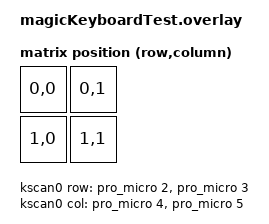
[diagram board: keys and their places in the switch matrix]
#include <dt-bindings/zmk/matrix_transform.h>
/{
    chosen {
        zmk,kscan = &default_kscan;
        zmk,matrix_transform = &default_transform;
    };
    kscan0: kscan0 {
        compatible = "zmk,kscan-gpio-matrix";
        diode-direction = "col2row";

        row-gpios
            = <&pro_micro 2 (GPIO_ACTIVE_HIGH | GPIO_PULL_DOWN)>
            , <&pro_micro 3 (GPIO_ACTIVE_HIGH | GPIO_PULL_DOWN)>;

        col-gpios
            = <&pro_micro 4 GPIO_ACTIVE_HIGH>
            , <&pro_micro 5 GPIO_ACTIVE_HIGH>;
         };

        default_transform: maxtrix_transform0 {
            compatible = "zmk,matrix-transform";
            columns = <2>; // Length of the "col-gpios" array
            rows = <2>; // Length of the "row-gpios" array
        map = <
        //   Key 1 | Key 2 
            RC(0,0) RC(0,1) 
        //   Key 4 | Key 5 
            RC(1,0) RC(1,1) 

        >;
    };
};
